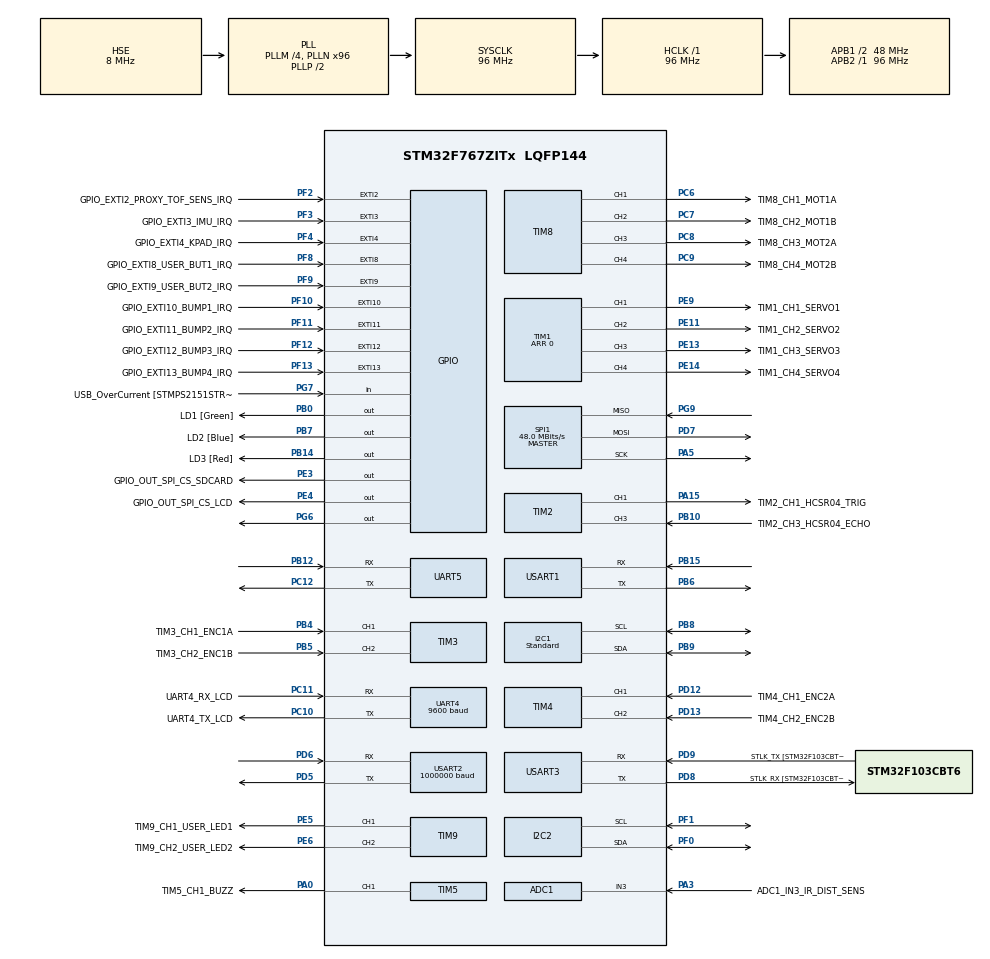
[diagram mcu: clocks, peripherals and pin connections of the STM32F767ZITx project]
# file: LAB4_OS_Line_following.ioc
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ADC1.Channel-1\#ChannelRegularConversion=ADC_CHANNEL_3
ADC1.NbrOfConversionFlag=1
ADC1.Rank-1\#ChannelRegularConversion=1
ADC1.SamplingTime-1\#ChannelRegularConversion=ADC_SAMPLETIME_3CYCLES
ADC1.master=1
FREERTOS.BinarySemaphores01=binarySemSync,Dynamic,NULL
FREERTOS.Mutexes01=DataMutex,Dynamic,NULL
FREERTOS.Tasks01=defaultTask,24,128,StartDefaultTask,Default,NULL,Dynamic,NULL,NULL;motorControlTas,48,128,StartMotorControlTask,Default,NULL,Dynamic,NULL,NULL;lineTask,48,128,StartLineTask,Default,NULL,Dynamic,NULL,NULL;commTask,8,128,StartCommTask,Default,NULL,Dynamic,NULL,NULL
I2C1.I2C_Speed_Mode=I2C_Standard
I2C1.Timing=0x20303E5D
I2C2.Timing=0x20303E5D
Mcu.Family=STM32F7
Mcu.Name=STM32F767ZITx
Mcu.Package=LQFP144
Mcu.UserConstants=TIM3_ARR_VALUE,3839;TIM4_ARR_VALUE,3839;TIM8_PSC_VALUE,959;TIM8_ARR_VALUE,399;TIM6_PSC_VALUE,959;TIM6_ARR_VALUE,999;TIM1_PSC_VALUE,959;TIM1_ARR_VALUE,1999
NVIC.PriorityGroup=NVIC_PRIORITYGROUP_4
NVIC.TIM6_DAC_IRQn=true\:0\:0\:false\:false\:true\:false\:true\:true\:true
NVIC.TimeBase=TIM6_DAC_IRQn
NVIC.TimeBaseIP=TIM6
PA0/WKUP.GPIO_Label=TIM5_CH1_BUZZ
PA0/WKUP.Signal=S_TIM5_CH1
PA1.GPIO_Label=RMII_REF_CLK [LAN8742A-CZ-TR_REFCLK0]
PA1.Signal=ETH_REF_CLK
PA10.GPIO_Label=USB_ID
PA10.Signal=USB_OTG_FS_ID
PA11.GPIO_Label=USB_DM
PA11.Signal=USB_OTG_FS_DM
PA12.GPIO_Label=USB_DP
PA12.Signal=USB_OTG_FS_DP
PA13.GPIO_Label=TMS
PA13.Mode=Serial_Wire
PA13.Signal=SYS_JTMS-SWDIO
PA14.GPIO_Label=TCK
PA14.Mode=Serial_Wire
PA14.Signal=SYS_JTCK-SWCLK
PA15.GPIO_Label=TIM2_CH1_HCSR04_TRIG
PA15.Signal=S_TIM2_CH1_ETR
PA2.GPIO_Label=RMII_MDIO [LAN8742A-CZ-TR_MDIO]
PA2.Signal=ETH_MDIO
PA3.GPIO_Label=ADC1_IN3_IR_DIST_SENS
PA3.Signal=ADCx_IN3
PA5.Mode=Full_Duplex_Master
PA5.Signal=SPI1_SCK
PA7.GPIO_Label=RMII_CRS_DV [LAN8742A-CZ-TR_CRS_DV]
PA7.Signal=ETH_CRS_DV
PA8.GPIO_Label=USB_SOF [TP1]
PA8.Signal=USB_OTG_FS_SOF
PA9.GPIO_Label=USB_VBUS
PA9.Signal=USB_OTG_FS_VBUS
PB0.GPIO_Label=LD1 [Green]
PB0.Signal=GPIO_Output
PB10.GPIO_Label=TIM2_CH3_HCSR04_ECHO
PB10.Signal=S_TIM2_CH3
PB12.Mode=Asynchronous
PB12.Signal=UART5_RX
PB13.GPIO_Label=RMII_TXD1 [LAN8742A-CZ-TR_TXD1]
PB13.Signal=ETH_TXD1
PB14.GPIO_Label=LD3 [Red]
PB14.Signal=GPIO_Output
PB15.Mode=Asynchronous
PB15.Signal=USART1_RX
PB3.GPIO_Label=SWO
PB3.Signal=SYS_JTDO-SWO
PB4.GPIO_Label=TIM3_CH1_ENC1A
PB4.Signal=S_TIM3_CH1
PB5.GPIO_Label=TIM3_CH2_ENC1B
PB5.Signal=S_TIM3_CH2
PB6.Mode=Asynchronous
PB6.Signal=USART1_TX
PB7.GPIO_Label=LD2 [Blue]
PB7.Signal=GPIO_Output
PB8.Mode=I2C
PB8.Signal=I2C1_SCL
PB9.Mode=I2C
PB9.Signal=I2C1_SDA
PC1.GPIO_Label=RMII_MDC [LAN8742A-CZ-TR_MDC]
PC1.Signal=ETH_MDC
PC10.GPIO_Label=UART4_TX_LCD
PC10.Mode=Asynchronous
PC10.Signal=UART4_TX
PC11.GPIO_Label=UART4_RX_LCD
PC11.Mode=Asynchronous
PC11.Signal=UART4_RX
PC12.Mode=Asynchronous
PC12.Signal=UART5_TX
PC14/OSC32_IN.Mode=LSE-External-Oscillator
PC14/OSC32_IN.Signal=RCC_OSC32_IN
PC15/OSC32_OUT.Mode=LSE-External-Oscillator
PC15/OSC32_OUT.Signal=RCC_OSC32_OUT
PC4.GPIO_Label=RMII_RXD0 [LAN8742A-CZ-TR_RXD0]
PC4.Signal=ETH_RXD0
PC5.GPIO_Label=RMII_RXD1 [LAN8742A-CZ-TR_RXD1]
PC5.Signal=ETH_RXD1
PC6.GPIO_Label=TIM8_CH1_MOT1A
PC6.Signal=S_TIM8_CH1
PC7.GPIO_Label=TIM8_CH2_MOT1B
PC7.Signal=S_TIM8_CH2
PC8.GPIO_Label=TIM8_CH3_MOT2A
PC8.Signal=S_TIM8_CH3
PC9.GPIO_Label=TIM8_CH4_MOT2B
PC9.Signal=S_TIM8_CH4
PD12.GPIO_Label=TIM4_CH1_ENC2A
PD12.Signal=S_TIM4_CH1
PD13.GPIO_Label=TIM4_CH2_ENC2B
PD13.Signal=S_TIM4_CH2
PD5.Mode=Asynchronous
PD5.Signal=USART2_TX
PD6.Mode=Asynchronous
PD6.Signal=USART2_RX
PD7.Mode=Full_Duplex_Master
PD7.Signal=SPI1_MOSI
PD8.GPIO_Label=STLK_RX [STM32F103CBT6_PA3]
PD8.Mode=Asynchronous
PD8.Signal=USART3_TX
PD9.GPIO_Label=STLK_TX [STM32F103CBT6_PA2]
PD9.Mode=Asynchronous
PD9.Signal=USART3_RX
PE11.GPIO_Label=TIM1_CH2_SERVO2
PE11.Signal=S_TIM1_CH2
PE13.GPIO_Label=TIM1_CH3_SERVO3
PE13.Signal=S_TIM1_CH3
PE14.GPIO_Label=TIM1_CH4_SERVO4
PE14.Signal=S_TIM1_CH4
PE3.GPIO_Label=GPIO_OUT_SPI_CS_SDCARD
PE3.Signal=GPIO_Output
PE4.GPIO_Label=GPIO_OUT_SPI_CS_LCD
PE4.Signal=GPIO_Output
PE5.GPIO_Label=TIM9_CH1_USER_LED1
PE5.Signal=S_TIM9_CH1
PE6.GPIO_Label=TIM9_CH2_USER_LED2
PE6.Signal=S_TIM9_CH2
PE9.GPIO_Label=TIM1_CH1_SERVO1
PE9.Signal=S_TIM1_CH1
PF0.Mode=I2C
PF0.Signal=I2C2_SDA
PF1.Mode=I2C
PF1.Signal=I2C2_SCL
PF10.GPIO_Label=GPIO_EXTI10_BUMP1_IRQ
PF10.Signal=GPXTI10
PF11.GPIO_Label=GPIO_EXTI11_BUMP2_IRQ
PF11.Signal=GPXTI11
PF12.GPIO_Label=GPIO_EXTI12_BUMP3_IRQ
PF12.Signal=GPXTI12
PF13.GPIO_Label=GPIO_EXTI13_BUMP4_IRQ
PF13.Signal=GPXTI13
PF2.GPIO_Label=GPIO_EXTI2_PROXY_TOF_SENS_IRQ
PF2.Signal=GPXTI2
PF3.GPIO_Label=GPIO_EXTI3_IMU_IRQ
PF3.Signal=GPXTI3
PF4.GPIO_Label=GPIO_EXTI4_KPAD_IRQ
PF4.Signal=GPXTI4
PF8.GPIO_Label=GPIO_EXTI8_USER_BUT1_IRQ
PF8.Signal=GPXTI8
PF9.GPIO_Label=GPIO_EXTI9_USER_BUT2_IRQ
PF9.Signal=GPXTI9
PG11.GPIO_Label=RMII_TX_EN [LAN8742A-CZ-TR_TXEN]
PG11.Signal=ETH_TX_EN
PG13.GPIO_Label=RMII_TXD0 [LAN8742A-CZ-TR_TXD0]
PG13.Signal=ETH_TXD0
PG6.Signal=GPIO_Output
PG7.GPIO_Label=USB_OverCurrent [STMPS2151STR_FAULT]
PG7.Signal=GPIO_Input
PG9.Mode=Full_Duplex_Master
PG9.Signal=SPI1_MISO
PH0/OSC_IN.GPIO_Label=MCO [STM32F103CBT6_PA8]
PH0/OSC_IN.Mode=HSE-External-Clock-Source
PH0/OSC_IN.Signal=RCC_OSC_IN
PH1/OSC_OUT.Mode=HSE-External-Clock-Source
PH1/OSC_OUT.Signal=RCC_OSC_OUT
ProjectManager.HeapSize=0x200
ProjectManager.StackSize=0x400
ProjectManager.TargetToolchain=STM32CubeIDE
RCC.48MHZClocksFreq_Value=24000000
RCC.AHBFreq_Value=96000000
RCC.APB1CLKDivider=RCC_HCLK_DIV2
RCC.APB1Freq_Value=48000000
RCC.APB1TimFreq_Value=96000000
RCC.APB2Freq_Value=96000000
RCC.APB2TimFreq_Value=96000000
RCC.CortexFreq_Value=96000000
RCC.HCLKFreq_Value=96000000
RCC.HSE_VALUE=8000000
RCC.HSI_VALUE=16000000
RCC.PLLM=4
RCC.PLLMUL=RCC_PLL_MUL9
RCC.PLLN=96
RCC.PLLQ=4
RCC.PLLSourceVirtual=RCC_PLLSOURCE_HSE
RCC.PRESCALERUSB=RCC_USBCLKSOURCE_PLL_DIV1_5
RCC.SYSCLKFreq_VALUE=96000000
RCC.SYSCLKSource=RCC_SYSCLKSOURCE_PLLCLK
RCC.SYSCLKSourceVirtual=RCC_SYSCLKSOURCE_PLLCLK
RCC.USBFreq_Value=48000000
RCC.VCOOutputFreq_Value=192000000
SH.ADCx_IN3.0=ADC1_IN3,IN3
SH.S_TIM1_CH1.0=TIM1_CH1,Forced Output1 CH1
SH.S_TIM1_CH2.0=TIM1_CH2,Forced Output2 CH2
SH.S_TIM1_CH3.0=TIM1_CH3,Forced Output3 CH3
SH.S_TIM1_CH4.0=TIM1_CH4,Forced Output4 CH4
SH.S_TIM2_CH1_ETR.0=TIM2_CH1,PWM Generation1 CH1
SH.S_TIM2_CH3.0=TIM2_CH3,Input_Capture3_from_TI3
SH.S_TIM3_CH1.0=TIM3_CH1,Encoder_Interface
SH.S_TIM3_CH2.0=TIM3_CH2,Encoder_Interface
SH.S_TIM4_CH1.0=TIM4_CH1,Encoder_Interface
SH.S_TIM4_CH2.0=TIM4_CH2,Encoder_Interface
SH.S_TIM5_CH1.0=TIM5_CH1,PWM Generation1 CH1
SH.S_TIM8_CH1.0=TIM8_CH1,PWM Generation1 CH1
SH.S_TIM8_CH2.0=TIM8_CH2,PWM Generation2 CH2
SH.S_TIM8_CH3.0=TIM8_CH3,PWM Generation3 CH3
SH.S_TIM8_CH4.0=TIM8_CH4,PWM Generation4 CH4
SH.S_TIM9_CH1.0=TIM9_CH1,PWM Generation1 CH1
SH.S_TIM9_CH2.0=TIM9_CH2,PWM Generation2 CH2
SPI1.CalculateBaudRate=48.0 MBits/s
SPI1.Direction=SPI_DIRECTION_2LINES
SPI1.Mode=SPI_MODE_MASTER
SPI1.VirtualType=VM_MASTER
TIM1.Channel-Forced\ Output1\ CH1=TIM_CHANNEL_1
TIM1.Channel-Forced\ Output2\ CH2=TIM_CHANNEL_2
TIM1.Channel-Forced\ Output3\ CH3=TIM_CHANNEL_3
TIM1.Channel-Forced\ Output4\ CH4=TIM_CHANNEL_4
TIM1.OCPolarity_1=TIM_OCPOLARITY_LOW
TIM1.OCPolarity_2=TIM_OCPOLARITY_LOW
TIM1.OCPolarity_3=TIM_OCPOLARITY_LOW
TIM1.OCPolarity_4=TIM_OCPOLARITY_LOW
TIM1.Period=0
TIM2.Channel-Input_Capture3_from_TI3=TIM_CHANNEL_3
TIM2.Channel-PWM\ Generation1\ CH1=TIM_CHANNEL_1
TIM3.EncoderMode=TIM_ENCODERMODE_TI12
TIM3.IC1Filter=15
TIM3.IC2Filter=15
TIM3.Period=TIM3_ARR_VALUE
TIM4.EncoderMode=TIM_ENCODERMODE_TI12
TIM4.IC1Filter=15
TIM4.IC2Filter=15
TIM4.Period=TIM4_ARR_VALUE
TIM5.Channel-PWM\ Generation1\ CH1=TIM_CHANNEL_1
TIM8.Channel-PWM\ Generation1\ CH1=TIM_CHANNEL_1
TIM8.Channel-PWM\ Generation2\ CH2=TIM_CHANNEL_2
TIM8.Channel-PWM\ Generation3\ CH3=TIM_CHANNEL_3
TIM8.Channel-PWM\ Generation4\ CH4=TIM_CHANNEL_4
TIM8.Period=TIM8_ARR_VALUE
TIM8.Prescaler=TIM8_PSC_VALUE
TIM9.Channel-PWM\ Generation1\ CH1=TIM_CHANNEL_1
TIM9.Channel-PWM\ Generation2\ CH2=TIM_CHANNEL_2
UART4.BaudRate=9600
USART1.VirtualMode-Asynchronous=VM_ASYNC
USART2.BaudRate=1000000
USART2.VirtualMode-Asynchronous=VM_ASYNC
USART3.VirtualMode-Asynchronous=VM_ASYNC
VP_FREERTOS_VS_CMSIS_V2.Mode=CMSIS_V2
VP_SYS_VS_tim6.Mode=TIM6
VP_TIM1_VS_ClockSourceINT.Mode=Internal
VP_TIM2_VS_ClockSourceINT.Mode=Internal
VP_TIM5_VS_ClockSourceINT.Mode=Internal
VP_TIM8_VS_ClockSourceINT.Mode=Internal
board=NUCLEO-F767ZI

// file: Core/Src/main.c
/* USER CODE BEGIN Header */
/**
 ******************************************************************************
 * @file           : main.c
 * @brief          : Main program body
 ******************************************************************************
 * @attention
 *
 * <h2><center>&copy; Copyright (c) 2022 STMicroelectronics.
 * All rights reserved.</center></h2>
 *
 * This software component is licensed by ST under Ultimate Liberty license
 * SLA0044, the "License"; You may not use this file except in compliance with
 * the License. You may obtain a copy of the License at:
 *                             www.st.com/SLA0044
 *
 ******************************************************************************
 */
/* USER CODE END Header */
#include "main.h"
#include "cmsis_os.h"

/* USER CODE BEGIN Includes */
#include <math.h>
#include <stdbool.h>
#include "ertc-datalogger.h"
#include "SX1509_Registers.h"
#include <stdio.h>
#include <string.h>
#include "SX1509_Registers.h"
/* USER CODE END Includes */

/* USER CODE BEGIN PD */
#define HAL_TIMEOUT 100
#define I2C_TIMEOUT 200

#define SX1509_I2C_ADDR1 0x3E //	SX1509 Proxy & Line Sensors I2C address
#define SX1509_I2C_ADDR2 0x3F //	SX1509 Keypad I2C address

#define TS 0.01

#define VBATT 8.0
#define V2DUTY ((float)(TIM8_ARR_VALUE) / VBATT)
#define DUTY2V ((float)VBATT / (TIM8_ARR_VALUE))

#define RPM2RADS 2 * M_PI / 60
/* USER CODE END PD */

ADC_HandleTypeDef hadc1;

I2C_HandleTypeDef hi2c1;
I2C_HandleTypeDef hi2c2;

SPI_HandleTypeDef hspi1;

TIM_HandleTypeDef htim1;
TIM_HandleTypeDef htim2;
TIM_HandleTypeDef htim3;
TIM_HandleTypeDef htim4;
TIM_HandleTypeDef htim5;
TIM_HandleTypeDef htim8;
TIM_HandleTypeDef htim9;

UART_HandleTypeDef huart4;
UART_HandleTypeDef huart5;
UART_HandleTypeDef huart1;
UART_HandleTypeDef huart2;
UART_HandleTypeDef huart3;

/* Definitions for defaultTask */
osThreadId_t defaultTaskHandle;
const osThreadAttr_t defaultTask_attributes = {
    .name = "defaultTask",
    .priority = (osPriority_t)osPriorityNormal,
    .stack_size = 128 * 4};
/* Definitions for motorControlTas */
osThreadId_t motorControlTasHandle;
const osThreadAttr_t motorControlTas_attributes = {
    .name = "motorControlTas",
    .priority = (osPriority_t)osPriorityRealtime,
    .stack_size = 128 * 4};
/* Definitions for lineTask */
osThreadId_t lineTaskHandle;
const osThreadAttr_t lineTask_attributes = {
    .name = "lineTask",
    .priority = (osPriority_t)osPriorityRealtime,
    .stack_size = 128 * 4};
/* Definitions for commTask */
osThreadId_t commTaskHandle;
const osThreadAttr_t commTask_attributes = {
    .name = "commTask",
    .priority = (osPriority_t)osPriorityLow,
    .stack_size = 128 * 4};
/* Definitions for DataMutex */
osMutexId_t DataMutexHandle;
const osMutexAttr_t DataMutex_attributes = {
    .name = "DataMutex"};
/* Definitions for binarySemSync */
osSemaphoreId_t binarySemSyncHandle;
const osSemaphoreAttr_t binarySemSync_attributes = {
    .name = "binarySemSync"};
/* USER CODE BEGIN PV */
float w1_ref_rpm = 10, w2_ref_rpm = 20;
float Kp = 3, Ki = 40, Kawu = 20; // Kawu = 3.6;
uint8_t done = 0;
float error = 0;
uint8_t line_sensor;
HAL_StatusTypeDef status;
struct ertc_dlog logger;
const char keypadLayout[4][4] = {{'*', '0', '#', 'D'},
                                 {'7', '8', '9', 'C'},
                                 {'4', '5', '6', 'B'},
                                 {'1', '2', '3', 'A'}};
const char i2c_error_msgs[] = "I2C communication error";

float W_l;
float W_r;
float u1_sat_V;
float u2_sat_V;

float V_abs = 500; // absolute speed in mm/s
int D_wheel = 165; // Distance between the two wheels in mm
int r_wheel = 34;  // Wheels radius in mm
float P_cst = 3;   // Proportional parameter

struct __attribute__((packed))
{
  float w1, w2;
  float u1, u2;
} data;
/* USER CODE END PV */

void SystemClock_Config(void);
static void MX_GPIO_Init(void);
static void MX_USART3_UART_Init(void);
static void MX_ADC1_Init(void);
static void MX_I2C1_Init(void);
static void MX_I2C2_Init(void);
static void MX_SPI1_Init(void);
static void MX_TIM1_Init(void);
static void MX_TIM2_Init(void);
static void MX_TIM3_Init(void);
static void MX_TIM4_Init(void);
static void MX_TIM5_Init(void);
static void MX_TIM8_Init(void);
static void MX_UART4_Init(void);
static void MX_UART5_Init(void);
static void MX_USART1_UART_Init(void);
static void MX_USART2_UART_Init(void);
static void MX_TIM9_Init(void);
void StartDefaultTask(void *argument);
void StartMotorControlTask(void *argument);
void StartLineTask(void *argument);
void StartCommTask(void *argument);

/* USER CODE BEGIN 0 */
void uint8_to_bin_digit(uint8_t in, uint8_t *out)
{
  for (uint8_t i = 0; i < 8; i++)
  {
    out[i] = (in & (1 << i)) ? 1 : 0;
  }
}
/* USER CODE END 0 */

int main(void)
{

  /* MCU Configuration--------------------------------------------------------*/

  /* Reset of all peripherals, Initializes the Flash interface and the Systick. */
  HAL_Init();

  /* Configure the system clock */
  SystemClock_Config();

  /* Initialize all configured peripherals */
  MX_GPIO_Init();
  MX_USART3_UART_Init();
  MX_ADC1_Init();
  MX_I2C1_Init();
  MX_I2C2_Init();
  MX_SPI1_Init();
  MX_TIM1_Init();
  MX_TIM2_Init();
  MX_TIM3_Init();
  MX_TIM4_Init();
  MX_TIM5_Init();
  MX_TIM8_Init();
  MX_UART4_Init();
  MX_UART5_Init();
  MX_USART1_UART_Init();
  MX_USART2_UART_Init();
  MX_TIM9_Init();
  /* USER CODE BEGIN 2 */
  /* Disable LCD SPI SS */
  HAL_GPIO_WritePin(GPIO_OUT_SPI_CS_LCD_GPIO_Port, GPIO_OUT_SPI_CS_LCD_Pin, GPIO_PIN_SET);

  /* SX1509 (1) - Software reset */
  uint8_t data = 0x12;

  status = HAL_I2C_Mem_Write(&hi2c1, SX1509_I2C_ADDR1 << 1, REG_RESET, 1, &data, 1, I2C_TIMEOUT);
  if (status != HAL_OK)
    error = 1;
  data = 0x34;
  status = HAL_I2C_Mem_Write(&hi2c1, SX1509_I2C_ADDR1 << 1, REG_RESET, 1, &data, 1, I2C_TIMEOUT);
  if (status != HAL_OK)
    error = 2;
  HAL_Delay(100);

  /* SX1509 (1) - Set RegDirA to 0xFF (all IO of Bank A configured as inputs) */
  data = 0xFF; // 0 = out; 1 = in
  status = HAL_I2C_Mem_Write(&hi2c1, SX1509_I2C_ADDR1 << 1, REG_DIR_A, 1, &data, 1, I2C_TIMEOUT);
  if (status != HAL_OK)
    error = 3;
  /* SX1509 (1) - Set RegDirB to 0xFF (all IO of Bank B configured as inputs) */
  data = 0xFF; // 0 = out; 1 = in
  status = HAL_I2C_Mem_Write(&hi2c1, SX1509_I2C_ADDR1 << 1, REG_DIR_B, 1, &data, 1, I2C_TIMEOUT);
  if (status != HAL_OK)
    error = 4;
  HAL_Delay(100);

  /* Set data logger communication type */
  //  logger.uart_handle = huart3; // for serial
  logger.uart_handle = huart2; // for WiFi

  /* Reset LCD */
  HAL_GPIO_WritePin(GPIO_OUT_SPI_CS_LCD_GPIO_Port, GPIO_OUT_SPI_CS_LCD_Pin, GPIO_PIN_SET);

  HAL_Delay(1000);

  /* Start encoders timers */
  HAL_TIM_Encoder_Start(&htim3, TIM_CHANNEL_ALL);
  HAL_TIM_Encoder_Start(&htim4, TIM_CHANNEL_ALL);

  /* Start servomotors PWM (avoid floating inputs to servomotors) */
  HAL_TIM_PWM_Start(&htim1, TIM_CHANNEL_1);
  HAL_TIM_PWM_Start(&htim1, TIM_CHANNEL_2);
  HAL_TIM_PWM_Start(&htim1, TIM_CHANNEL_3);
  HAL_TIM_PWM_Start(&htim1, TIM_CHANNEL_4);

  /* Start motor PWM */

  __HAL_TIM_SET_COMPARE(&htim8, TIM_CHANNEL_1, 0);
  __HAL_TIM_SET_COMPARE(&htim8, TIM_CHANNEL_2, 0);
  __HAL_TIM_SET_COMPARE(&htim8, TIM_CHANNEL_3, 0);
  __HAL_TIM_SET_COMPARE(&htim8, TIM_CHANNEL_4, 0);

  HAL_TIM_PWM_Start(&htim8, TIM_CHANNEL_1);
  HAL_TIM_PWM_Start(&htim8, TIM_CHANNEL_2);
  HAL_TIM_PWM_Start(&htim8, TIM_CHANNEL_3);
  HAL_TIM_PWM_Start(&htim8, TIM_CHANNEL_4);

  done = 1;
  /* USER CODE END 2 */

  /* Init scheduler */
  osKernelInitialize();
  /* Create the mutex(es) */
  /* creation of DataMutex */
  DataMutexHandle = osMutexNew(&DataMutex_attributes);

  /* Create the semaphores(s) */
  /* creation of binarySemSync */
  binarySemSyncHandle = osSemaphoreNew(1, 0, &binarySemSync_attributes);

  /* Create the thread(s) */
  /* creation of defaultTask */
  defaultTaskHandle = osThreadNew(StartDefaultTask, NULL, &defaultTask_attributes);

  /* creation of motorControlTas */
  motorControlTasHandle = osThreadNew(StartMotorControlTask, NULL, &motorControlTas_attributes);

  /* creation of lineTask */
  lineTaskHandle = osThreadNew(StartLineTask, NULL, &lineTask_attributes);

  /* creation of commTask */
  commTaskHandle = osThreadNew(StartCommTask, NULL, &commTask_attributes);

  /* Start scheduler */
  osKernelStart();

  /* We should never get here as control is now taken by the scheduler */
  /* Infinite loop */
  while (1)
  {

  }
}

void SystemClock_Config(void)
{
  RCC_OscInitTypeDef RCC_OscInitStruct = {0};
  RCC_ClkInitTypeDef RCC_ClkInitStruct = {0};
  RCC_PeriphCLKInitTypeDef PeriphClkInitStruct = {0};

  /** Configure LSE Drive Capability
   */
  HAL_PWR_EnableBkUpAccess();
  /** Configure the main internal regulator output voltage
   */
  __HAL_RCC_PWR_CLK_ENABLE();
  __HAL_PWR_VOLTAGESCALING_CONFIG(PWR_REGULATOR_VOLTAGE_SCALE3);
  /** Initializes the RCC Oscillators according to the specified parameters
   * in the RCC_OscInitTypeDef structure.
   */
  RCC_OscInitStruct.OscillatorType = RCC_OSCILLATORTYPE_HSE;
  RCC_OscInitStruct.HSEState = RCC_HSE_BYPASS;
  RCC_OscInitStruct.PLL.PLLState = RCC_PLL_ON;
  RCC_OscInitStruct.PLL.PLLSource = RCC_PLLSOURCE_HSE;
  RCC_OscInitStruct.PLL.PLLM = 4;
  RCC_OscInitStruct.PLL.PLLN = 96;
  RCC_OscInitStruct.PLL.PLLP = RCC_PLLP_DIV2;
  RCC_OscInitStruct.PLL.PLLQ = 4;
  if (HAL_RCC_OscConfig(&RCC_OscInitStruct) != HAL_OK)
  {
    Error_Handler();
  }
  /** Activate the Over-Drive mode
   */
  if (HAL_PWREx_EnableOverDrive() != HAL_OK)
  {
    Error_Handler();
  }
  /** Initializes the CPU, AHB and APB buses clocks
   */
  RCC_ClkInitStruct.ClockType = RCC_CLOCKTYPE_HCLK | RCC_CLOCKTYPE_SYSCLK | RCC_CLOCKTYPE_PCLK1 | RCC_CLOCKTYPE_PCLK2;
  RCC_ClkInitStruct.SYSCLKSource = RCC_SYSCLKSOURCE_PLLCLK;
  RCC_ClkInitStruct.AHBCLKDivider = RCC_SYSCLK_DIV1;
  RCC_ClkInitStruct.APB1CLKDivider = RCC_HCLK_DIV2;
  RCC_ClkInitStruct.APB2CLKDivider = RCC_HCLK_DIV1;

  if (HAL_RCC_ClockConfig(&RCC_ClkInitStruct, FLASH_LATENCY_3) != HAL_OK)
  {
    Error_Handler();
  }
  PeriphClkInitStruct.PeriphClockSelection = RCC_PERIPHCLK_USART1 | RCC_PERIPHCLK_USART2 | RCC_PERIPHCLK_USART3 | RCC_PERIPHCLK_UART4 | RCC_PERIPHCLK_UART5 | RCC_PERIPHCLK_I2C1 | RCC_PERIPHCLK_I2C2;
  PeriphClkInitStruct.Usart1ClockSelection = RCC_USART1CLKSOURCE_PCLK2;
  PeriphClkInitStruct.Usart2ClockSelection = RCC_USART2CLKSOURCE_PCLK1;
  PeriphClkInitStruct.Usart3ClockSelection = RCC_USART3CLKSOURCE_PCLK1;
  PeriphClkInitStruct.Uart4ClockSelection = RCC_UART4CLKSOURCE_PCLK1;
  PeriphClkInitStruct.Uart5ClockSelection = RCC_UART5CLKSOURCE_PCLK1;
  PeriphClkInitStruct.I2c1ClockSelection = RCC_I2C1CLKSOURCE_PCLK1;
  PeriphClkInitStruct.I2c2ClockSelection = RCC_I2C2CLKSOURCE_PCLK1;
  if (HAL_RCCEx_PeriphCLKConfig(&PeriphClkInitStruct) != HAL_OK)
  {
    Error_Handler();
  }
}

static void MX_ADC1_Init(void)
{

  ADC_ChannelConfTypeDef sConfig = {0};

  /** Configure the global features of the ADC (Clock, Resolution, Data Alignment and number of conversion)
   */
  hadc1.Instance = ADC1;
  hadc1.Init.ClockPrescaler = ADC_CLOCK_SYNC_PCLK_DIV4;
  hadc1.Init.Resolution = ADC_RESOLUTION_12B;
  hadc1.Init.ScanConvMode = ADC_SCAN_DISABLE;
  hadc1.Init.ContinuousConvMode = DISABLE;
  hadc1.Init.DiscontinuousConvMode = DISABLE;
  hadc1.Init.ExternalTrigConvEdge = ADC_EXTERNALTRIGCONVEDGE_NONE;
  hadc1.Init.ExternalTrigConv = ADC_SOFTWARE_START;
  hadc1.Init.DataAlign = ADC_DATAALIGN_RIGHT;
  hadc1.Init.NbrOfConversion = 1;
  hadc1.Init.DMAContinuousRequests = DISABLE;
  hadc1.Init.EOCSelection = ADC_EOC_SINGLE_CONV;
  if (HAL_ADC_Init(&hadc1) != HAL_OK)
  {
    Error_Handler();
  }
  /** Configure for the selected ADC regular channel its corresponding rank in the sequencer and its sample time.
   */
  sConfig.Channel = ADC_CHANNEL_3;
  sConfig.Rank = ADC_REGULAR_RANK_1;
  sConfig.SamplingTime = ADC_SAMPLETIME_3CYCLES;
  if (HAL_ADC_ConfigChannel(&hadc1, &sConfig) != HAL_OK)
  {
    Error_Handler();
  }
}

static void MX_I2C1_Init(void)
{

  hi2c1.Instance = I2C1;
  hi2c1.Init.Timing = 0x20303E5D;
  hi2c1.Init.OwnAddress1 = 0;
  hi2c1.Init.AddressingMode = I2C_ADDRESSINGMODE_7BIT;
  hi2c1.Init.DualAddressMode = I2C_DUALADDRESS_DISABLE;
  hi2c1.Init.OwnAddress2 = 0;
  hi2c1.Init.OwnAddress2Masks = I2C_OA2_NOMASK;
  hi2c1.Init.GeneralCallMode = I2C_GENERALCALL_DISABLE;
  hi2c1.Init.NoStretchMode = I2C_NOSTRETCH_DISABLE;
  if (HAL_I2C_Init(&hi2c1) != HAL_OK)
  {
    Error_Handler();
  }
  /** Configure Analogue filter
   */
  if (HAL_I2CEx_ConfigAnalogFilter(&hi2c1, I2C_ANALOGFILTER_ENABLE) != HAL_OK)
  {
    Error_Handler();
  }
  /** Configure Digital filter
   */
  if (HAL_I2CEx_ConfigDigitalFilter(&hi2c1, 0) != HAL_OK)
  {
    Error_Handler();
  }
}

static void MX_I2C2_Init(void)
{

  hi2c2.Instance = I2C2;
  hi2c2.Init.Timing = 0x20303E5D;
  hi2c2.Init.OwnAddress1 = 0;
  hi2c2.Init.AddressingMode = I2C_ADDRESSINGMODE_7BIT;
  hi2c2.Init.DualAddressMode = I2C_DUALADDRESS_DISABLE;
  hi2c2.Init.OwnAddress2 = 0;
  hi2c2.Init.OwnAddress2Masks = I2C_OA2_NOMASK;
  hi2c2.Init.GeneralCallMode = I2C_GENERALCALL_DISABLE;
  hi2c2.Init.NoStretchMode = I2C_NOSTRETCH_DISABLE;
  if (HAL_I2C_Init(&hi2c2) != HAL_OK)
  {
    Error_Handler();
  }
  /** Configure Analogue filter
   */
  if (HAL_I2CEx_ConfigAnalogFilter(&hi2c2, I2C_ANALOGFILTER_ENABLE) != HAL_OK)
  {
    Error_Handler();
  }
  /** Configure Digital filter
   */
  if (HAL_I2CEx_ConfigDigitalFilter(&hi2c2, 0) != HAL_OK)
  {
    Error_Handler();
  }
}

static void MX_SPI1_Init(void)
{

  /* SPI1 parameter configuration*/
  hspi1.Instance = SPI1;
  hspi1.Init.Mode = SPI_MODE_MASTER;
  hspi1.Init.Direction = SPI_DIRECTION_2LINES;
  hspi1.Init.DataSize = SPI_DATASIZE_4BIT;
  hspi1.Init.CLKPolarity = SPI_POLARITY_LOW;
  hspi1.Init.CLKPhase = SPI_PHASE_1EDGE;
  hspi1.Init.NSS = SPI_NSS_SOFT;
  hspi1.Init.BaudRatePrescaler = SPI_BAUDRATEPRESCALER_2;
  hspi1.Init.FirstBit = SPI_FIRSTBIT_MSB;
  hspi1.Init.TIMode = SPI_TIMODE_DISABLE;
  hspi1.Init.CRCCalculation = SPI_CRCCALCULATION_DISABLE;
  hspi1.Init.CRCPolynomial = 7;
  hspi1.Init.CRCLength = SPI_CRC_LENGTH_DATASIZE;
  hspi1.Init.NSSPMode = SPI_NSS_PULSE_ENABLE;
  if (HAL_SPI_Init(&hspi1) != HAL_OK)
  {
    Error_Handler();
  }
}

static void MX_TIM1_Init(void)
{

  TIM_ClockConfigTypeDef sClockSourceConfig = {0};
  TIM_MasterConfigTypeDef sMasterConfig = {0};
  TIM_OC_InitTypeDef sConfigOC = {0};
  TIM_BreakDeadTimeConfigTypeDef sBreakDeadTimeConfig = {0};

  htim1.Instance = TIM1;
  htim1.Init.Prescaler = 0;
  htim1.Init.CounterMode = TIM_COUNTERMODE_UP;
  htim1.Init.Period = 0;
  htim1.Init.ClockDivision = TIM_CLOCKDIVISION_DIV1;
  htim1.Init.RepetitionCounter = 0;
  htim1.Init.AutoReloadPreload = TIM_AUTORELOAD_PRELOAD_DISABLE;
  if (HAL_TIM_Base_Init(&htim1) != HAL_OK)
  {
    Error_Handler();
  }
  sClockSourceConfig.ClockSource = TIM_CLOCKSOURCE_INTERNAL;
  if (HAL_TIM_ConfigClockSource(&htim1, &sClockSourceConfig) != HAL_OK)
  {
    Error_Handler();
  }
  if (HAL_TIM_OC_Init(&htim1) != HAL_OK)
  {
    Error_Handler();
  }
  sMasterConfig.MasterOutputTrigger = TIM_TRGO_RESET;
  sMasterConfig.MasterOutputTrigger2 = TIM_TRGO2_RESET;
  sMasterConfig.MasterSlaveMode = TIM_MASTERSLAVEMODE_DISABLE;
  if (HAL_TIMEx_MasterConfigSynchronization(&htim1, &sMasterConfig) != HAL_OK)
  {
    Error_Handler();
  }
  sConfigOC.OCMode = TIM_OCMODE_FORCED_ACTIVE;
  sConfigOC.Pulse = 0;
  sConfigOC.OCPolarity = TIM_OCPOLARITY_LOW;
  sConfigOC.OCNPolarity = TIM_OCNPOLARITY_HIGH;
  sConfigOC.OCFastMode = TIM_OCFAST_DISABLE;
  sConfigOC.OCIdleState = TIM_OCIDLESTATE_RESET;
  sConfigOC.OCNIdleState = TIM_OCNIDLESTATE_RESET;
  if (HAL_TIM_OC_ConfigChannel(&htim1, &sConfigOC, TIM_CHANNEL_1) != HAL_OK)
  {
    Error_Handler();
  }
  if (HAL_TIM_OC_ConfigChannel(&htim1, &sConfigOC, TIM_CHANNEL_2) != HAL_OK)
  {
    Error_Handler();
  }
  if (HAL_TIM_OC_ConfigChannel(&htim1, &sConfigOC, TIM_CHANNEL_3) != HAL_OK)
  {
    Error_Handler();
  }
  if (HAL_TIM_OC_ConfigChannel(&htim1, &sConfigOC, TIM_CHANNEL_4) != HAL_OK)
  {
    Error_Handler();
  }
  sBreakDeadTimeConfig.OffStateRunMode = TIM_OSSR_DISABLE;
  sBreakDeadTimeConfig.OffStateIDLEMode = TIM_OSSI_DISABLE;
  sBreakDeadTimeConfig.LockLevel = TIM_LOCKLEVEL_OFF;
  sBreakDeadTimeConfig.DeadTime = 0;
  sBreakDeadTimeConfig.BreakState = TIM_BREAK_DISABLE;
  sBreakDeadTimeConfig.BreakPolarity = TIM_BREAKPOLARITY_HIGH;
  sBreakDeadTimeConfig.BreakFilter = 0;
  sBreakDeadTimeConfig.Break2State = TIM_BREAK2_DISABLE;
  sBreakDeadTimeConfig.Break2Polarity = TIM_BREAK2POLARITY_HIGH;
  sBreakDeadTimeConfig.Break2Filter = 0;
  sBreakDeadTimeConfig.AutomaticOutput = TIM_AUTOMATICOUTPUT_DISABLE;
  if (HAL_TIMEx_ConfigBreakDeadTime(&htim1, &sBreakDeadTimeConfig) != HAL_OK)
  {
    Error_Handler();
  }
  HAL_TIM_MspPostInit(&htim1);
}

static void MX_TIM2_Init(void)
{

  TIM_ClockConfigTypeDef sClockSourceConfig = {0};
  TIM_MasterConfigTypeDef sMasterConfig = {0};
  TIM_OC_InitTypeDef sConfigOC = {0};
  TIM_IC_InitTypeDef sConfigIC = {0};

  htim2.Instance = TIM2;
  htim2.Init.Prescaler = 0;
  htim2.Init.CounterMode = TIM_COUNTERMODE_UP;
  htim2.Init.Period = 4294967295;
  htim2.Init.ClockDivision = TIM_CLOCKDIVISION_DIV1;
  htim2.Init.AutoReloadPreload = TIM_AUTORELOAD_PRELOAD_DISABLE;
  if (HAL_TIM_Base_Init(&htim2) != HAL_OK)
  {
    Error_Handler();
  }
  sClockSourceConfig.ClockSource = TIM_CLOCKSOURCE_INTERNAL;
  if (HAL_TIM_ConfigClockSource(&htim2, &sClockSourceConfig) != HAL_OK)
  {
    Error_Handler();
  }
  if (HAL_TIM_PWM_Init(&htim2) != HAL_OK)
  {
    Error_Handler();
  }
  if (HAL_TIM_IC_Init(&htim2) != HAL_OK)
  {
    Error_Handler();
  }
  sMasterConfig.MasterOutputTrigger = TIM_TRGO_RESET;
  sMasterConfig.MasterSlaveMode = TIM_MASTERSLAVEMODE_DISABLE;
  if (HAL_TIMEx_MasterConfigSynchronization(&htim2, &sMasterConfig) != HAL_OK)
  {
    Error_Handler();
  }
  sConfigOC.OCMode = TIM_OCMODE_PWM1;
  sConfigOC.Pulse = 0;
  sConfigOC.OCPolarity = TIM_OCPOLARITY_HIGH;
  sConfigOC.OCFastMode = TIM_OCFAST_DISABLE;
  if (HAL_TIM_PWM_ConfigChannel(&htim2, &sConfigOC, TIM_CHANNEL_1) != HAL_OK)
  {
    Error_Handler();
  }
  sConfigIC.ICPolarity = TIM_INPUTCHANNELPOLARITY_RISING;
  sConfigIC.ICSelection = TIM_ICSELECTION_DIRECTTI;
  sConfigIC.ICPrescaler = TIM_ICPSC_DIV1;
  sConfigIC.ICFilter = 0;
  if (HAL_TIM_IC_ConfigChannel(&htim2, &sConfigIC, TIM_CHANNEL_3) != HAL_OK)
  {
    Error_Handler();
  }
  HAL_TIM_MspPostInit(&htim2);
}

static void MX_TIM3_Init(void)
{

  TIM_Encoder_InitTypeDef sConfig = {0};
  TIM_MasterConfigTypeDef sMasterConfig = {0};

  htim3.Instance = TIM3;
  htim3.Init.Prescaler = 0;
  htim3.Init.CounterMode = TIM_COUNTERMODE_UP;
  htim3.Init.Period = TIM3_ARR_VALUE;
  htim3.Init.ClockDivision = TIM_CLOCKDIVISION_DIV1;
  htim3.Init.AutoReloadPreload = TIM_AUTORELOAD_PRELOAD_DISABLE;
  sConfig.EncoderMode = TIM_ENCODERMODE_TI12;
  sConfig.IC1Polarity = TIM_ICPOLARITY_RISING;
  sConfig.IC1Selection = TIM_ICSELECTION_DIRECTTI;
  sConfig.IC1Prescaler = TIM_ICPSC_DIV1;
  sConfig.IC1Filter = 15;
  sConfig.IC2Polarity = TIM_ICPOLARITY_RISING;
  sConfig.IC2Selection = TIM_ICSELECTION_DIRECTTI;
  sConfig.IC2Prescaler = TIM_ICPSC_DIV1;
  sConfig.IC2Filter = 15;
  if (HAL_TIM_Encoder_Init(&htim3, &sConfig) != HAL_OK)
  {
    Error_Handler();
  }
  sMasterConfig.MasterOutputTrigger = TIM_TRGO_RESET;
  sMasterConfig.MasterSlaveMode = TIM_MASTERSLAVEMODE_DISABLE;
  if (HAL_TIMEx_MasterConfigSynchronization(&htim3, &sMasterConfig) != HAL_OK)
  {
    Error_Handler();
  }
}

static void MX_TIM4_Init(void)
{

  TIM_Encoder_InitTypeDef sConfig = {0};
  TIM_MasterConfigTypeDef sMasterConfig = {0};

  htim4.Instance = TIM4;
  htim4.Init.Prescaler = 0;
  htim4.Init.CounterMode = TIM_COUNTERMODE_UP;
  htim4.Init.Period = TIM4_ARR_VALUE;
  htim4.Init.ClockDivision = TIM_CLOCKDIVISION_DIV1;
  htim4.Init.AutoReloadPreload = TIM_AUTORELOAD_PRELOAD_DISABLE;
  sConfig.EncoderMode = TIM_ENCODERMODE_TI12;
  sConfig.IC1Polarity = TIM_ICPOLARITY_RISING;
  sConfig.IC1Selection = TIM_ICSELECTION_DIRECTTI;
  sConfig.IC1Prescaler = TIM_ICPSC_DIV1;
  sConfig.IC1Filter = 15;
  sConfig.IC2Polarity = TIM_ICPOLARITY_RISING;
  sConfig.IC2Selection = TIM_ICSELECTION_DIRECTTI;
  sConfig.IC2Prescaler = TIM_ICPSC_DIV1;
  sConfig.IC2Filter = 15;
  if (HAL_TIM_Encoder_Init(&htim4, &sConfig) != HAL_OK)
  {
    Error_Handler();
  }
  sMasterConfig.MasterOutputTrigger = TIM_TRGO_RESET;
  sMasterConfig.MasterSlaveMode = TIM_MASTERSLAVEMODE_DISABLE;
  if (HAL_TIMEx_MasterConfigSynchronization(&htim4, &sMasterConfig) != HAL_OK)
  {
    Error_Handler();
  }
}

static void MX_TIM5_Init(void)
{

  TIM_ClockConfigTypeDef sClockSourceConfig = {0};
  TIM_MasterConfigTypeDef sMasterConfig = {0};
  TIM_OC_InitTypeDef sConfigOC = {0};

  htim5.Instance = TIM5;
  htim5.Init.Prescaler = 0;
  htim5.Init.CounterMode = TIM_COUNTERMODE_UP;
  htim5.Init.Period = 4294967295;
  htim5.Init.ClockDivision = TIM_CLOCKDIVISION_DIV1;
  htim5.Init.AutoReloadPreload = TIM_AUTORELOAD_PRELOAD_DISABLE;
  if (HAL_TIM_Base_Init(&htim5) != HAL_OK)
  {
    Error_Handler();
  }
  sClockSourceConfig.ClockSource = TIM_CLOCKSOURCE_INTERNAL;
  if (HAL_TIM_ConfigClockSource(&htim5, &sClockSourceConfig) != HAL_OK)
  {
    Error_Handler();
  }
  if (HAL_TIM_PWM_Init(&htim5) != HAL_OK)
  {
    Error_Handler();
  }
  sMasterConfig.MasterOutputTrigger = TIM_TRGO_RESET;
  sMasterConfig.MasterSlaveMode = TIM_MASTERSLAVEMODE_DISABLE;
  if (HAL_TIMEx_MasterConfigSynchronization(&htim5, &sMasterConfig) != HAL_OK)
  {
    Error_Handler();
  }
  sConfigOC.OCMode = TIM_OCMODE_PWM1;
  sConfigOC.Pulse = 0;
  sConfigOC.OCPolarity = TIM_OCPOLARITY_HIGH;
  sConfigOC.OCFastMode = TIM_OCFAST_DISABLE;
  if (HAL_TIM_PWM_ConfigChannel(&htim5, &sConfigOC, TIM_CHANNEL_1) != HAL_OK)
  {
    Error_Handler();
  }
  HAL_TIM_MspPostInit(&htim5);
}

static void MX_TIM8_Init(void)
{

  TIM_ClockConfigTypeDef sClockSourceConfig = {0};
  TIM_MasterConfigTypeDef sMasterConfig = {0};
  TIM_OC_InitTypeDef sConfigOC = {0};
  TIM_BreakDeadTimeConfigTypeDef sBreakDeadTimeConfig = {0};

  htim8.Instance = TIM8;
  htim8.Init.Prescaler = TIM8_PSC_VALUE;
  htim8.Init.CounterMode = TIM_COUNTERMODE_UP;
  htim8.Init.Period = TIM8_ARR_VALUE;
  htim8.Init.ClockDivision = TIM_CLOCKDIVISION_DIV1;
  htim8.Init.RepetitionCounter = 0;
  htim8.Init.AutoReloadPreload = TIM_AUTORELOAD_PRELOAD_DISABLE;
  if (HAL_TIM_Base_Init(&htim8) != HAL_OK)
  {
    Error_Handler();
  }
  sClockSourceConfig.ClockSource = TIM_CLOCKSOURCE_INTERNAL;
  if (HAL_TIM_ConfigClockSource(&htim8, &sClockSourceConfig) != HAL_OK)
  {
    Error_Handler();
  }
  if (HAL_TIM_PWM_Init(&htim8) != HAL_OK)
  {
    Error_Handler();
  }
  sMasterConfig.MasterOutputTrigger = TIM_TRGO_RESET;
  sMasterConfig.MasterOutputTrigger2 = TIM_TRGO2_RESET;
  sMasterConfig.MasterSlaveMode = TIM_MASTERSLAVEMODE_DISABLE;
  if (HAL_TIMEx_MasterConfigSynchronization(&htim8, &sMasterConfig) != HAL_OK)
  {
    Error_Handler();
  }
  sConfigOC.OCMode = TIM_OCMODE_PWM1;
  sConfigOC.Pulse = 0;
  sConfigOC.OCPolarity = TIM_OCPOLARITY_HIGH;
  sConfigOC.OCNPolarity = TIM_OCNPOLARITY_HIGH;
  sConfigOC.OCFastMode = TIM_OCFAST_DISABLE;
  sConfigOC.OCIdleState = TIM_OCIDLESTATE_RESET;
  sConfigOC.OCNIdleState = TIM_OCNIDLESTATE_RESET;
  if (HAL_TIM_PWM_ConfigChannel(&htim8, &sConfigOC, TIM_CHANNEL_1) != HAL_OK)
  {
    Error_Handler();
  }
  if (HAL_TIM_PWM_ConfigChannel(&htim8, &sConfigOC, TIM_CHANNEL_2) != HAL_OK)
  {
    Error_Handler();
  }
  if (HAL_TIM_PWM_ConfigChannel(&htim8, &sConfigOC, TIM_CHANNEL_3) != HAL_OK)
  {
    Error_Handler();
  }
  if (HAL_TIM_PWM_ConfigChannel(&htim8, &sConfigOC, TIM_CHANNEL_4) != HAL_OK)
  {
    Error_Handler();
  }
  sBreakDeadTimeConfig.OffStateRunMode = TIM_OSSR_DISABLE;
  sBreakDeadTimeConfig.OffStateIDLEMode = TIM_OSSI_DISABLE;
  sBreakDeadTimeConfig.LockLevel = TIM_LOCKLEVEL_OFF;
  sBreakDeadTimeConfig.DeadTime = 0;
  sBreakDeadTimeConfig.BreakState = TIM_BREAK_DISABLE;
  sBreakDeadTimeConfig.BreakPolarity = TIM_BREAKPOLARITY_HIGH;
  sBreakDeadTimeConfig.BreakFilter = 0;
  sBreakDeadTimeConfig.Break2State = TIM_BREAK2_DISABLE;
  sBreakDeadTimeConfig.Break2Polarity = TIM_BREAK2POLARITY_HIGH;
  sBreakDeadTimeConfig.Break2Filter = 0;
  sBreakDeadTimeConfig.AutomaticOutput = TIM_AUTOMATICOUTPUT_DISABLE;
  if (HAL_TIMEx_ConfigBreakDeadTime(&htim8, &sBreakDeadTimeConfig) != HAL_OK)
  {
    Error_Handler();
  }
  HAL_TIM_MspPostInit(&htim8);
}

static void MX_TIM9_Init(void)
{

  TIM_OC_InitTypeDef sConfigOC = {0};

  htim9.Instance = TIM9;
  htim9.Init.Prescaler = 0;
  htim9.Init.CounterMode = TIM_COUNTERMODE_UP;
  htim9.Init.Period = 65535;
  htim9.Init.ClockDivision = TIM_CLOCKDIVISION_DIV1;
  htim9.Init.AutoReloadPreload = TIM_AUTORELOAD_PRELOAD_DISABLE;
  if (HAL_TIM_PWM_Init(&htim9) != HAL_OK)
  {
    Error_Handler();
  }
  sConfigOC.OCMode = TIM_OCMODE_PWM1;
  sConfigOC.Pulse = 0;
  sConfigOC.OCPolarity = TIM_OCPOLARITY_HIGH;
  sConfigOC.OCFastMode = TIM_OCFAST_DISABLE;
  if (HAL_TIM_PWM_ConfigChannel(&htim9, &sConfigOC, TIM_CHANNEL_1) != HAL_OK)
  {
    Error_Handler();
  }
  if (HAL_TIM_PWM_ConfigChannel(&htim9, &sConfigOC, TIM_CHANNEL_2) != HAL_OK)
  {
    Error_Handler();
  }
  HAL_TIM_MspPostInit(&htim9);
}

static void MX_UART4_Init(void)
{

  huart4.Instance = UART4;
  huart4.Init.BaudRate = 9600;
  huart4.Init.WordLength = UART_WORDLENGTH_8B;
  huart4.Init.StopBits = UART_STOPBITS_1;
  huart4.Init.Parity = UART_PARITY_NONE;
  huart4.Init.Mode = UART_MODE_TX_RX;
  huart4.Init.HwFlowCtl = UART_HWCONTROL_NONE;
  huart4.Init.OverSampling = UART_OVERSAMPLING_16;
  huart4.Init.OneBitSampling = UART_ONE_BIT_SAMPLE_DISABLE;
  huart4.AdvancedInit.AdvFeatureInit = UART_ADVFEATURE_NO_INIT;
  if (HAL_UART_Init(&huart4) != HAL_OK)
  {
    Error_Handler();
  }
}

static void MX_UART5_Init(void)
{

  huart5.Instance = UART5;
  huart5.Init.BaudRate = 115200;
  huart5.Init.WordLength = UART_WORDLENGTH_8B;
  huart5.Init.StopBits = UART_STOPBITS_1;
  huart5.Init.Parity = UART_PARITY_NONE;
  huart5.Init.Mode = UART_MODE_TX_RX;
  huart5.Init.HwFlowCtl = UART_HWCONTROL_NONE;
  huart5.Init.OverSampling = UART_OVERSAMPLING_16;
  huart5.Init.OneBitSampling = UART_ONE_BIT_SAMPLE_DISABLE;
  huart5.AdvancedInit.AdvFeatureInit = UART_ADVFEATURE_NO_INIT;
  if (HAL_UART_Init(&huart5) != HAL_OK)
  {
    Error_Handler();
  }
}

static void MX_USART1_UART_Init(void)
{

  huart1.Instance = USART1;
  huart1.Init.BaudRate = 115200;
  huart1.Init.WordLength = UART_WORDLENGTH_8B;
  huart1.Init.StopBits = UART_STOPBITS_1;
  huart1.Init.Parity = UART_PARITY_NONE;
  huart1.Init.Mode = UART_MODE_TX_RX;
  huart1.Init.HwFlowCtl = UART_HWCONTROL_NONE;
  huart1.Init.OverSampling = UART_OVERSAMPLING_16;
  huart1.Init.OneBitSampling = UART_ONE_BIT_SAMPLE_DISABLE;
  huart1.AdvancedInit.AdvFeatureInit = UART_ADVFEATURE_NO_INIT;
  if (HAL_UART_Init(&huart1) != HAL_OK)
  {
    Error_Handler();
  }
}

static void MX_USART2_UART_Init(void)
{

  huart2.Instance = USART2;
  huart2.Init.BaudRate = 1000000;
  huart2.Init.WordLength = UART_WORDLENGTH_8B;
  huart2.Init.StopBits = UART_STOPBITS_1;
  huart2.Init.Parity = UART_PARITY_NONE;
  huart2.Init.Mode = UART_MODE_TX_RX;
  huart2.Init.HwFlowCtl = UART_HWCONTROL_NONE;
  huart2.Init.OverSampling = UART_OVERSAMPLING_16;
  huart2.Init.OneBitSampling = UART_ONE_BIT_SAMPLE_DISABLE;
  huart2.AdvancedInit.AdvFeatureInit = UART_ADVFEATURE_NO_INIT;
  if (HAL_UART_Init(&huart2) != HAL_OK)
  {
    Error_Handler();
  }
}

static void MX_USART3_UART_Init(void)
{

  huart3.Instance = USART3;
  huart3.Init.BaudRate = 115200;
  huart3.Init.WordLength = UART_WORDLENGTH_8B;
  huart3.Init.StopBits = UART_STOPBITS_1;
  huart3.Init.Parity = UART_PARITY_NONE;
  huart3.Init.Mode = UART_MODE_TX_RX;
  huart3.Init.HwFlowCtl = UART_HWCONTROL_NONE;
  huart3.Init.OverSampling = UART_OVERSAMPLING_16;
  huart3.Init.OneBitSampling = UART_ONE_BIT_SAMPLE_DISABLE;
  huart3.AdvancedInit.AdvFeatureInit = UART_ADVFEATURE_NO_INIT;
  if (HAL_UART_Init(&huart3) != HAL_OK)
  {
    Error_Handler();
  }
}

static void MX_GPIO_Init(void)
{
  GPIO_InitTypeDef GPIO_InitStruct = {0};

  /* GPIO Ports Clock Enable */
  __HAL_RCC_GPIOE_CLK_ENABLE();
  __HAL_RCC_GPIOC_CLK_ENABLE();
  __HAL_RCC_GPIOF_CLK_ENABLE();
  __HAL_RCC_GPIOH_CLK_ENABLE();
  __HAL_RCC_GPIOA_CLK_ENABLE();
  __HAL_RCC_GPIOB_CLK_ENABLE();
  __HAL_RCC_GPIOD_CLK_ENABLE();
  __HAL_RCC_GPIOG_CLK_ENABLE();

  /*Configure GPIO pin Output Level */
  HAL_GPIO_WritePin(GPIOE, GPIO_OUT_SPI_CS_SDCARD_Pin | GPIO_OUT_SPI_CS_LCD_Pin, GPIO_PIN_RESET);

  /*Configure GPIO pin Output Level */
  HAL_GPIO_WritePin(GPIOB, LD1_Pin | LD3_Pin | LD2_Pin, GPIO_PIN_RESET);

  /*Configure GPIO pin Output Level */
  HAL_GPIO_WritePin(GPIOG, GPIO_PIN_6, GPIO_PIN_RESET);

  /*Configure GPIO pins : GPIO_OUT_SPI_CS_SDCARD_Pin GPIO_OUT_SPI_CS_LCD_Pin */
  GPIO_InitStruct.Pin = GPIO_OUT_SPI_CS_SDCARD_Pin | GPIO_OUT_SPI_CS_LCD_Pin;
  GPIO_InitStruct.Mode = GPIO_MODE_OUTPUT_PP;
  GPIO_InitStruct.Pull = GPIO_NOPULL;
  GPIO_InitStruct.Speed = GPIO_SPEED_FREQ_LOW;
  HAL_GPIO_Init(GPIOE, &GPIO_InitStruct);

  /*Configure GPIO pins : GPIO_EXTI2_PROXY_TOF_SENS_IRQ_Pin GPIO_EXTI3_IMU_IRQ_Pin GPIO_EXTI4_KPAD_IRQ_Pin GPIO_EXTI8_USER_BUT1_IRQ_Pin
                           GPIO_EXTI9_USER_BUT2_IRQ_Pin GPIO_EXTI10_BUMP1_IRQ_Pin GPIO_EXTI11_BUMP2_IRQ_Pin GPIO_EXTI12_BUMP3_IRQ_Pin
                           GPIO_EXTI13_BUMP4_IRQ_Pin */
  GPIO_InitStruct.Pin = GPIO_EXTI2_PROXY_TOF_SENS_IRQ_Pin | GPIO_EXTI3_IMU_IRQ_Pin | GPIO_EXTI4_KPAD_IRQ_Pin | GPIO_EXTI8_USER_BUT1_IRQ_Pin | GPIO_EXTI9_USER_BUT2_IRQ_Pin | GPIO_EXTI10_BUMP1_IRQ_Pin | GPIO_EXTI11_BUMP2_IRQ_Pin | GPIO_EXTI12_BUMP3_IRQ_Pin | GPIO_EXTI13_BUMP4_IRQ_Pin;
  GPIO_InitStruct.Mode = GPIO_MODE_IT_RISING;
  GPIO_InitStruct.Pull = GPIO_NOPULL;
  HAL_GPIO_Init(GPIOF, &GPIO_InitStruct);

  /*Configure GPIO pins : RMII_MDC_Pin RMII_RXD0_Pin RMII_RXD1_Pin */
  GPIO_InitStruct.Pin = RMII_MDC_Pin | RMII_RXD0_Pin | RMII_RXD1_Pin;
  GPIO_InitStruct.Mode = GPIO_MODE_AF_PP;
  GPIO_InitStruct.Pull = GPIO_NOPULL;
  GPIO_InitStruct.Speed = GPIO_SPEED_FREQ_VERY_HIGH;
  GPIO_InitStruct.Alternate = GPIO_AF11_ETH;
  HAL_GPIO_Init(GPIOC, &GPIO_InitStruct);

  /*Configure GPIO pins : RMII_REF_CLK_Pin RMII_MDIO_Pin RMII_CRS_DV_Pin */
  GPIO_InitStruct.Pin = RMII_REF_CLK_Pin | RMII_MDIO_Pin | RMII_CRS_DV_Pin;
  GPIO_InitStruct.Mode = GPIO_MODE_AF_PP;
  GPIO_InitStruct.Pull = GPIO_NOPULL;
  GPIO_InitStruct.Speed = GPIO_SPEED_FREQ_VERY_HIGH;
  GPIO_InitStruct.Alternate = GPIO_AF11_ETH;
  HAL_GPIO_Init(GPIOA, &GPIO_InitStruct);

  /*Configure GPIO pins : LD1_Pin LD3_Pin LD2_Pin */
  GPIO_InitStruct.Pin = LD1_Pin | LD3_Pin | LD2_Pin;
  GPIO_InitStruct.Mode = GPIO_MODE_OUTPUT_PP;
  GPIO_InitStruct.Pull = GPIO_NOPULL;
  GPIO_InitStruct.Speed = GPIO_SPEED_FREQ_LOW;
  HAL_GPIO_Init(GPIOB, &GPIO_InitStruct);

  /*Configure GPIO pin : RMII_TXD1_Pin */
  GPIO_InitStruct.Pin = RMII_TXD1_Pin;
  GPIO_InitStruct.Mode = GPIO_MODE_AF_PP;
  GPIO_InitStruct.Pull = GPIO_NOPULL;
  GPIO_InitStruct.Speed = GPIO_SPEED_FREQ_VERY_HIGH;
  GPIO_InitStruct.Alternate = GPIO_AF11_ETH;
  HAL_GPIO_Init(RMII_TXD1_GPIO_Port, &GPIO_InitStruct);

  /*Configure GPIO pin : PG6 */
  GPIO_InitStruct.Pin = GPIO_PIN_6;
  GPIO_InitStruct.Mode = GPIO_MODE_OUTPUT_PP;
  GPIO_InitStruct.Pull = GPIO_NOPULL;
  GPIO_InitStruct.Speed = GPIO_SPEED_FREQ_LOW;
  HAL_GPIO_Init(GPIOG, &GPIO_InitStruct);

  /*Configure GPIO pin : USB_OverCurrent_Pin */
  GPIO_InitStruct.Pin = USB_OverCurrent_Pin;
  GPIO_InitStruct.Mode = GPIO_MODE_INPUT;
  GPIO_InitStruct.Pull = GPIO_NOPULL;
  HAL_GPIO_Init(USB_OverCurrent_GPIO_Port, &GPIO_InitStruct);

  /*Configure GPIO pins : USB_SOF_Pin USB_ID_Pin USB_DM_Pin USB_DP_Pin */
  GPIO_InitStruct.Pin = USB_SOF_Pin | USB_ID_Pin | USB_DM_Pin | USB_DP_Pin;
  GPIO_InitStruct.Mode = GPIO_MODE_AF_PP;
  GPIO_InitStruct.Pull = GPIO_NOPULL;
  GPIO_InitStruct.Speed = GPIO_SPEED_FREQ_VERY_HIGH;
  GPIO_InitStruct.Alternate = GPIO_AF10_OTG_FS;
  HAL_GPIO_Init(GPIOA, &GPIO_InitStruct);

  /*Configure GPIO pin : USB_VBUS_Pin */
  GPIO_InitStruct.Pin = USB_VBUS_Pin;
  GPIO_InitStruct.Mode = GPIO_MODE_INPUT;
  GPIO_InitStruct.Pull = GPIO_NOPULL;
  HAL_GPIO_Init(USB_VBUS_GPIO_Port, &GPIO_InitStruct);

  /*Configure GPIO pins : RMII_TX_EN_Pin RMII_TXD0_Pin */
  GPIO_InitStruct.Pin = RMII_TX_EN_Pin | RMII_TXD0_Pin;
  GPIO_InitStruct.Mode = GPIO_MODE_AF_PP;
  GPIO_InitStruct.Pull = GPIO_NOPULL;
  GPIO_InitStruct.Speed = GPIO_SPEED_FREQ_VERY_HIGH;
  GPIO_InitStruct.Alternate = GPIO_AF11_ETH;
  HAL_GPIO_Init(GPIOG, &GPIO_InitStruct);
}

void StartDefaultTask(void *argument)
{
  for (;;)
  {
    osDelay(1);
  }
}

void StartMotorControlTask(void *argument)
{
  /* USER CODE BEGIN StartMotorControlTask */
  /* Infinite loop */
  for (;;)
  {
    osSemaphoreAcquire(binarySemSyncHandle, osWaitForever);
    uint32_t TIM3_CurrentCount, TIM4_CurrentCount;
    int32_t TIM3_DiffCount, TIM4_DiffCount;
    static uint32_t TIM3_PreviousCount = 0, TIM4_PreviousCount = 0;

    float w1_meas_rpm, w2_meas_rpm;
    float w1_err_rads, w2_err_rads;

    float u1_V, u1_sat_V, u1_prop_V, e1_awu_V, u1_sat_duty;
    float u2_V, u2_sat_V, u2_prop_V, e2_awu_V, u2_sat_duty;

    static float u1_int_V = 0;
    static float u2_int_V = 0;

    float psi_dot = error * P_cst;
    float V_r = V_abs + psi_dot * D_wheel / 2; // Right wheel velocity in mm/s
    float V_l = V_abs - psi_dot * D_wheel / 2; // Left wheel velocity in mm/s

    W_r = V_r / r_wheel; // Right wheel angular speed rad/s
    W_l = V_l / r_wheel; // Left wheel angular speed rad/s

    /*  read current values of encoders counters  */
    TIM3_CurrentCount = __HAL_TIM_GET_COUNTER(&htim3);
    TIM4_CurrentCount = __HAL_TIM_GET_COUNTER(&htim4);

    /*  evaluate increment of TIM3 counter from previous count  */
    if (__HAL_TIM_IS_TIM_COUNTING_DOWN(&htim3))
    {
      /* check for counter underflow */
      if (TIM3_CurrentCount <= TIM3_PreviousCount)
        TIM3_DiffCount = TIM3_CurrentCount - TIM3_PreviousCount;
      else
        TIM3_DiffCount = -((TIM3_ARR_VALUE + 1) - TIM3_CurrentCount) - TIM3_PreviousCount;
    }
    else
    {
      /* check for counter overflow */
      if (TIM3_CurrentCount >= TIM3_PreviousCount)
        TIM3_DiffCount = TIM3_CurrentCount - TIM3_PreviousCount;
      else
        TIM3_DiffCount = ((TIM3_ARR_VALUE + 1) - TIM3_PreviousCount) + TIM3_CurrentCount;
    }

    /*  evaluate increment of TIM4 counter from previous count  */
    if (__HAL_TIM_IS_TIM_COUNTING_DOWN(&htim4))
    {
      /* check for counter underflow */
      if (TIM4_CurrentCount <= TIM4_PreviousCount)
        TIM4_DiffCount = TIM4_CurrentCount - TIM4_PreviousCount;
      else
        TIM4_DiffCount = -((TIM4_ARR_VALUE + 1) - TIM4_CurrentCount) - TIM4_PreviousCount;
    }
    else
    {
      /* check for counter overflow */
      if (TIM4_CurrentCount >= TIM4_PreviousCount)
        TIM4_DiffCount = TIM4_CurrentCount - TIM4_PreviousCount;
      else
        TIM4_DiffCount = ((TIM4_ARR_VALUE + 1) - TIM4_PreviousCount) + TIM4_CurrentCount;
    }

    /* compute unfiltered motor speeds [rpm] */
    w1_meas_rpm = (float)TIM3_DiffCount / (TIM3_ARR_VALUE + 1) / TS * 60;
    w2_meas_rpm = (float)TIM4_DiffCount / (TIM4_ARR_VALUE + 1) / TS * 60;

    /* compute tracking error [rpm] */
    w1_err_rads = W_r - RPM2RADS * w1_meas_rpm;
    w2_err_rads = W_l - RPM2RADS * w2_meas_rpm;

    /* get PI proportional terms [V] */
    u1_prop_V = Kp * w1_err_rads;
    u2_prop_V = Kp * w2_err_rads;

    /* get PI integral term [V] */
    u1_int_V += Ki * TS * w1_err_rads;
    u2_int_V += Ki * TS * w2_err_rads;

    /* get PI outputs [V]  */
    u1_V = u1_prop_V + u1_int_V;
    u2_V = u2_prop_V + u2_int_V;

    /* get saturated P outputs [V]  */
    if (u1_V > VBATT)
      u1_sat_V = VBATT;
    else if (u1_V < -VBATT)
      u1_sat_V = -VBATT;
    else
      u1_sat_V = u1_V;

    if (u2_V > VBATT)
      u2_sat_V = VBATT;
    else if (u2_V < -VBATT)
      u2_sat_V = -VBATT;
    else
      u2_sat_V = u2_V;

    /* get AWU error signals */
    e1_awu_V = u1_V - u1_sat_V;
    e2_awu_V = u2_V - u2_sat_V;

    /* desaturate integral action */
    u1_int_V -= Kawu * TS * e1_awu_V;
    u2_int_V -= Kawu * TS * e2_awu_V;

    /* get saturated PI outputs [duty]  */
    u1_sat_duty = V2DUTY * u1_sat_V;
    u2_sat_duty = V2DUTY * u2_sat_V;

    if (u1_sat_duty >= 0)
    {
      __HAL_TIM_SET_COMPARE(&htim8, TIM_CHANNEL_1, (uint32_t)TIM8_ARR_VALUE);
      __HAL_TIM_SET_COMPARE(&htim8, TIM_CHANNEL_2, (uint32_t)(TIM8_ARR_VALUE - u1_sat_duty));
    }
    else
    {
      __HAL_TIM_SET_COMPARE(&htim8, TIM_CHANNEL_2, (uint32_t)TIM8_ARR_VALUE);
      __HAL_TIM_SET_COMPARE(&htim8, TIM_CHANNEL_1, (uint32_t)(TIM8_ARR_VALUE + u1_sat_duty));
    }
    if (u2_sat_duty >= 0)
    {
      __HAL_TIM_SET_COMPARE(&htim8, TIM_CHANNEL_3, (uint32_t)TIM8_ARR_VALUE);
      __HAL_TIM_SET_COMPARE(&htim8, TIM_CHANNEL_4, (uint32_t)(TIM8_ARR_VALUE - u2_sat_duty));
    }
    else
    {
      __HAL_TIM_SET_COMPARE(&htim8, TIM_CHANNEL_4, (uint32_t)TIM8_ARR_VALUE);
      __HAL_TIM_SET_COMPARE(&htim8, TIM_CHANNEL_3, (uint32_t)(TIM8_ARR_VALUE + u2_sat_duty));
    }

    /*  update previous values of encoder counts  */
    TIM3_PreviousCount = TIM3_CurrentCount;
    TIM4_PreviousCount = TIM4_CurrentCount;

    //	  osDelayUntil(10); // should not be necessary if we use semaphore as it will wait the line task to complete before executing
  }
  /* USER CODE END StartMotorControlTask */
}

void StartLineTask(void *argument)
{
  /* USER CODE BEGIN StartLineTask */
  /* Infinite loop */
  for (;;)
  {
    osMutexAcquire(DataMutexHandle, osWaitForever);
    /* Enter Critical section */

    uint8_t sensor_data;
    status = HAL_I2C_Mem_Read(&hi2c1, SX1509_I2C_ADDR1 << 1, REG_DATA_B, 1, &sensor_data, 1, I2C_TIMEOUT);
    uint8_t b_n[8];
    uint8_to_bin_digit(sensor_data, b_n);
    float w_n[8];
    float num_f = 0;
    float den_f = 0;
    for (int i = 0; i < 8; i++)
    {
      w_n[i] = (7 / 2 - i) * 4; // 4mm is distance between two sensors/ Output is in mm
    }

    for (int i = 0; i <= 7; i++)
    {
      num_f += b_n[i] * w_n[i];
      den_f += b_n[i];
    }
    if (den_f == 0)
      error = 0;
    else
      error = num_f / den_f;

    /* Exit Critical section */
    osMutexRelease(DataMutexHandle);

    osSemaphoreRelease(binarySemSyncHandle); // Should release the semaphore so MotorControlTask can start
    osDelayUntil(10);
  }
  /* USER CODE END StartLineTask */
}

void StartCommTask(void *argument)
{
  /* USER CODE BEGIN StartCommTask */
  /* Infinite loop */
  for (;;)
  {
    /* Prepare data packet */
    data.w1 = W_l;
    data.w2 = W_r;
    data.u1 = u1_sat_V;
    data.u2 = u2_sat_V;

    ertc_dlog_update(&logger);
    ertc_dlog_send(&logger, &data, sizeof(data));
    osDelayUntil(10);
  }
  /* USER CODE END StartCommTask */
}

void HAL_TIM_PeriodElapsedCallback(TIM_HandleTypeDef *htim)
{
  if (htim->Instance == TIM6)
  {
    HAL_IncTick();
  }
}

void Error_Handler(void)
{
  __disable_irq();
  while (1)
  {
  }
}

/************************ (C) COPYRIGHT STMicroelectronics *****END OF FILE****/
